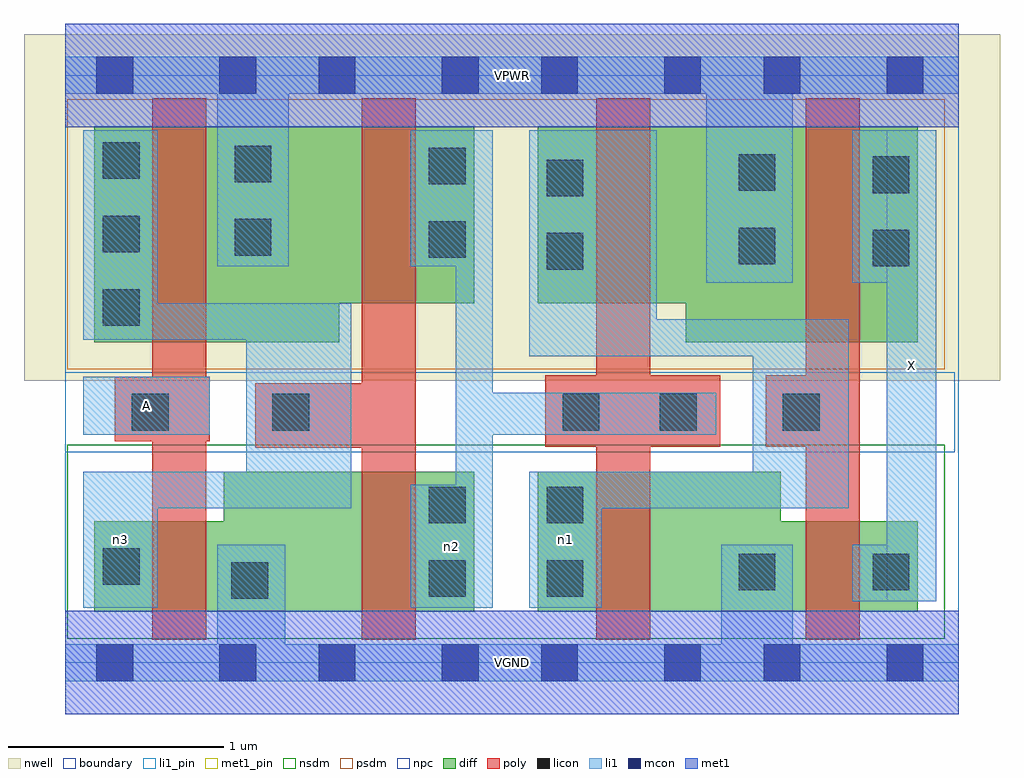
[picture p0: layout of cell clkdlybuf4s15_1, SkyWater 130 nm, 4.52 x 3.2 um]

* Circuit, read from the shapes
.subckt clkdlybuf4s15_1 A VGND VPWR X n1 n2 n3
XM1 VGND A n3 VSUBS sky130_fd_pr__nfet_01v8 w=0.42 l=0.25
XM2 n2 n3 VGND VSUBS sky130_fd_pr__nfet_01v8 w=0.65 l=0.25
XM3 VGND n2 n1 VSUBS sky130_fd_pr__nfet_01v8 w=0.65 l=0.25
XM4 X n1 VGND VSUBS sky130_fd_pr__nfet_01v8 w=0.42 l=0.25
XM5 VPWR A n3 n4 sky130_fd_pr__pfet_01v8 w=1 l=0.25
XM6 n2 n3 VPWR n4 sky130_fd_pr__pfet_01v8 w=0.82 l=0.25
XM7 VPWR n2 n1 n4 sky130_fd_pr__pfet_01v8 w=0.82 l=0.25
XM8 X n1 VPWR n4 sky130_fd_pr__pfet_01v8 w=1 l=0.25
.ends

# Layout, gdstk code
import gdstk
lib = gdstk.Library(unit=1e-6, precision=1e-09)
def R(c, l, rs):  # rectangles x0, y0, x1, y1
    for r in rs: c.add(gdstk.rectangle(r[:2], r[2:], *l))
def A(c, l, x, y, w, h, nx, ny, dx, dy):  # array of equal rectangles
    R(c, l, [(x+i*dx, y+j*dy, x+i*dx+w, y+j*dy+h) for i in range(nx) for j in range(ny)])
nwell = (64, 20)
diff = (65, 20)
poly = (66, 20)
licon = (66, 44)
li1_pin = (67, 16)
li1 = (67, 20)
mcon = (67, 44)
met1_pin = (68, 16)
met1 = (68, 20)
nsdm = (93, 44)
psdm = (94, 20)
npc = (95, 20)
boundary = (235, 4)

clkdlybuf4s15_1 = lib.new_cell('clkdlybuf4s15_1')
R(clkdlybuf4s15_1, nwell, [(-0.19,1.305,4.33,2.91), (0,1.305,4.14,2.91)])
R(clkdlybuf4s15_1, diff, [(0.135,0.235,1.895,0.655), (0.735,0.235,1.895,0.885), (2.19,0.235,3.95,0.655), (2.19,0.235,3.315,0.885), (0.135,1.485,1.27,2.485), (2.875,1.485,3.95,2.485), (0.135,1.665,1.895,2.485), (2.19,1.665,3.95,2.485)])
R(clkdlybuf4s15_1, poly, [(0.405,0.105,0.655,2.615), (1.375,0.105,1.625,2.615), (2.46,0.105,2.71,2.615), (3.43,0.105,3.68,2.615), (0.88,0.995,1.625,1.295), (2.225,1,3.035,1.33), (3.245,1,3.68,1.33), (0.23,1.025,0.67,1.325)])
A(clkdlybuf4s15_1, licon, 0.175, 1.56, 0.17, 0.17, 1, 3, 0, 0.34)
R(clkdlybuf4s15_1, licon, [(0.77,0.295,0.94,0.465), (1.685,0.305,1.855,0.475), (2.23,0.305,2.4,0.475), (3.12,0.335,3.29,0.505), (3.74,0.335,3.91,0.505), (0.175,0.36,0.345,0.53), (1.685,0.645,1.855,0.815), (2.23,0.645,2.4,0.815), (0.31,1.075,0.48,1.245), (0.96,1.075,1.13,1.245), (2.305,1.075,2.475,1.245), (2.755,1.075,2.925,1.245), (3.325,1.075,3.495,1.245), (2.23,1.82,2.4,1.99), (3.74,1.835,3.91,2.005), (3.12,1.845,3.29,2.015), (1.685,1.875,1.855,2.045), (0.785,1.885,0.955,2.055), (2.23,2.16,2.4,2.33), (3.74,2.175,3.91,2.345), (3.12,2.185,3.29,2.355), (1.685,2.215,1.855,2.385), (0.785,2.225,0.955,2.395)])
R(clkdlybuf4s15_1, li1_pin, [(3.805,0.285,4.035,2.465), (0.085,1.055,0.67,1.325)])
R(clkdlybuf4s15_1, li1, [(0,-0.085,4.14,0.085), (0.705,-0.085,1.02,0.545), (3.04,-0.085,3.37,0.545), (0.085,0.255,0.43,0.885), (1.6,0.255,1.98,0.825), (1.81,0.255,1.98,2.465), (2.15,0.255,2.485,0.885), (3.645,0.285,4.035,0.545), (3.805,0.285,4.035,2.465), (0.085,0.715,1.325,0.885), (0.84,0.715,1.325,1.665), (2.15,0.715,3.63,0.885), (3.185,0.715,3.63,1.59), (0.085,1.055,0.67,1.325), (1.81,1.055,3.015,1.25), (2.15,1.42,3.63,1.59), (2.15,1.42,2.74,2.465), (0.085,1.495,1.325,1.665), (0.085,1.495,0.43,2.465), (2.97,1.76,3.37,2.805), (3.645,1.76,4.035,2.465), (0.705,1.835,1.035,2.805), (1.6,1.835,1.98,2.465), (0,2.635,4.14,2.805)])
R(clkdlybuf4s15_1, mcon, [(0.145,-0.085,0.315,0.085), (0.715,-0.085,0.885,0.085), (1.175,-0.085,1.345,0.085), (1.745,-0.085,1.915,0.085), (2.205,-0.085,2.375,0.085), (2.775,-0.085,2.945,0.085), (3.235,-0.085,3.405,0.085), (3.805,-0.085,3.975,0.085), (0.145,2.635,0.315,2.805), (0.715,2.635,0.885,2.805), (1.175,2.635,1.345,2.805), (1.745,2.635,1.915,2.805), (2.205,2.635,2.375,2.805), (2.775,2.635,2.945,2.805), (3.235,2.635,3.405,2.805), (3.805,2.635,3.975,2.805)])
R(clkdlybuf4s15_1, met1_pin, [(0,-0.24,4.14,0.24), (0,2.48,4.14,2.96)])
R(clkdlybuf4s15_1, met1, [(0,-0.24,4.14,0.24), (0,2.48,4.14,2.96)])
R(clkdlybuf4s15_1, nsdm, [(0.01,0.11,4.075,1.01)])
R(clkdlybuf4s15_1, psdm, [(0.01,1.36,4.075,2.61)])
R(clkdlybuf4s15_1, npc, [(0,0.975,4.12,1.345)])
R(clkdlybuf4s15_1, boundary, [(0,0,4.14,2.72)])
clkdlybuf4s15_1.add(gdstk.Label('A', (0.377,1.19), layer=67, texttype=5))
clkdlybuf4s15_1.add(gdstk.Label('X', (3.92,1.375), layer=67, texttype=5))
clkdlybuf4s15_1.add(gdstk.Label('n3', (0.257,0.57), layer=67, texttype=5))
clkdlybuf4s15_1.add(gdstk.Label('n2', (1.79,0.54), layer=67, texttype=5))
clkdlybuf4s15_1.add(gdstk.Label('n1', (2.317,0.57), layer=67, texttype=5))
clkdlybuf4s15_1.add(gdstk.Label('VPWR', (2.07,2.72), layer=68, texttype=5))
clkdlybuf4s15_1.add(gdstk.Label('VGND', (2.07,0), layer=68, texttype=5))
clkdlybuf4s15_1.add(gdstk.Label('A', (0.377,1.19), layer=67, texttype=16))
clkdlybuf4s15_1.add(gdstk.Label('X', (3.92,1.375), layer=67, texttype=16))
clkdlybuf4s15_1.add(gdstk.Label('VPWR', (2.07,2.72), layer=68, texttype=16))
clkdlybuf4s15_1.add(gdstk.Label('VGND', (2.07,0), layer=68, texttype=16))

lib.write_gds('clkdlybuf4s15_1.gds')
